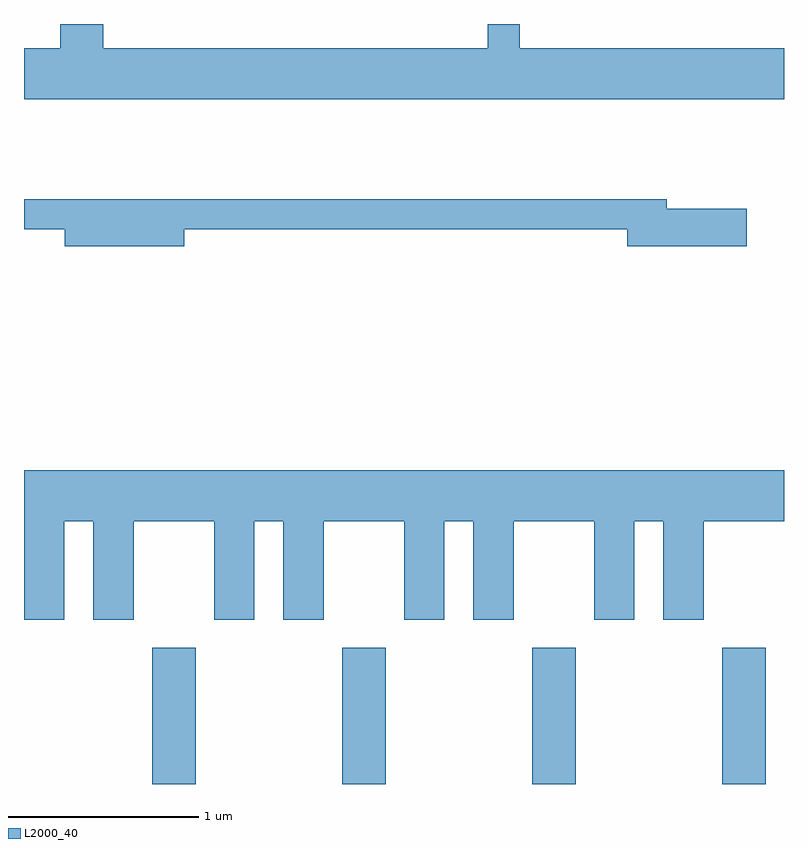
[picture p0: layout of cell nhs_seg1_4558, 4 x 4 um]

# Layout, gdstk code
import gdstk
lib = gdstk.Library(unit=1e-6, precision=1e-09)
def R(c, l, rs):  # rectangles x0, y0, x1, y1
    for r in rs: c.add(gdstk.rectangle(r[:2], r[2:], *l))
def A(c, l, x, y, w, h, nx, ny, dx, dy):  # array of equal rectangles
    R(c, l, [(x+i*dx, y+j*dy, x+i*dx+w, y+j*dy+h) for i in range(nx) for j in range(ny)])
def P(c, l, *ps):  # polygons
    for p in ps: c.add(gdstk.Polygon(p, *l))
L2000_40 = (2000, 40)

nhs_seg1_4558 = lib.new_cell('nhs_seg1_4558')
A(nhs_seg1_4558, L2000_40, 322.286, 933.712, 0.228, 0.717, 4, 1, 1, 0)
P(nhs_seg1_4558, L2000_40, [(325.611,937.584),(324.219,937.584),(324.219,937.712),(324.051,937.712),(324.051,937.584),(322.029,937.584),(322.029,937.712),(321.801,937.712),(321.801,937.584),(321.611,937.584),(321.611,937.316),(325.611,937.316)],
  [(322.454,936.631),(324.786,936.631),(324.786,936.541),(325.414,936.541),(325.414,936.739),(324.994,936.739),(324.994,936.789),(321.611,936.789),(321.611,936.631),(321.826,936.631),(321.826,936.541),(322.454,936.541)],
  [(321.824,935.096),(321.976,935.096),(321.976,934.576),(322.189,934.576),(322.189,935.096),(322.611,935.096),(322.611,934.576),(322.824,934.576),(322.824,935.096),(322.976,935.096),(322.976,934.576),(323.189,934.576),(323.189,935.096),(323.611,935.096),(323.611,934.576),(323.824,934.576),(323.824,935.096),(323.976,935.096),(323.976,934.576),(324.189,934.576),(324.189,935.096),(324.611,935.096),(324.611,934.576),(324.824,934.576),(324.824,935.096),(324.976,935.096),(324.976,934.576),(325.189,934.576),(325.189,935.096),(325.611,935.096),(325.611,935.364),(321.611,935.364),(321.611,934.576),(321.824,934.576)])

lib.write_gds('nhs_seg1_4558.gds')
